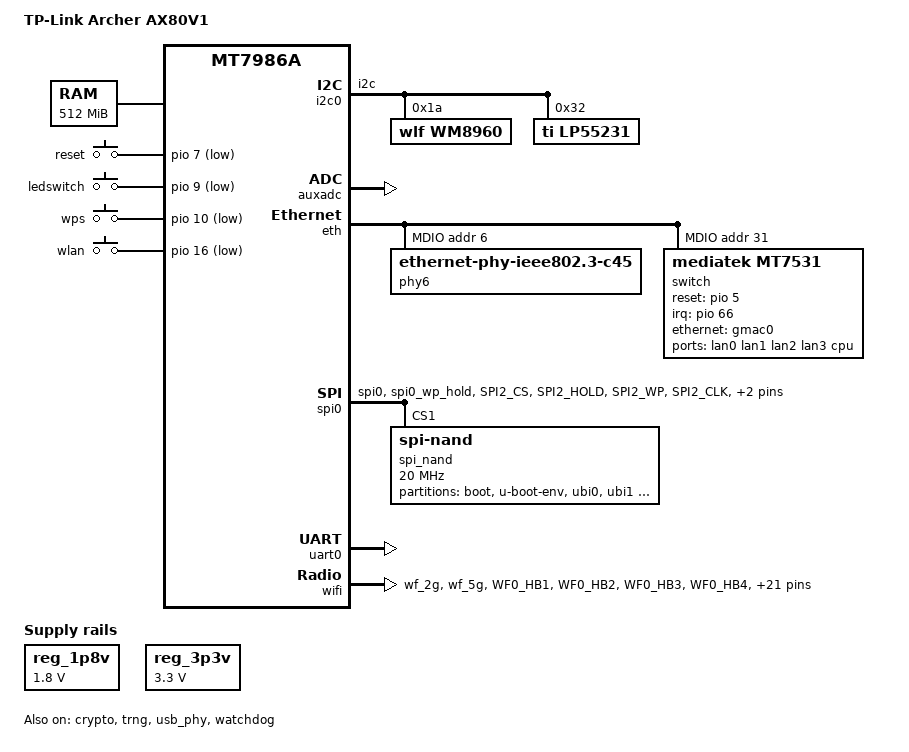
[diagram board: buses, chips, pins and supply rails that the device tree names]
// SPDX-License-Identifier: GPL-2.0-or-later OR MIT

/dts-v1/;
#include <dt-bindings/gpio/gpio.h>
#include <dt-bindings/input/input.h>
#include <dt-bindings/leds/common.h>
#include "mt7986a.dtsi"

/ {
	compatible = "tplink,archer-ax80-v1", "mediatek,mt7986a";
	model = "TP-Link Archer AX80V1";

	aliases {
		serial0 = &uart0;
	};

	chosen {
		stdout-path = "serial0:115200n8";
	};

	memory {
		reg = <0 0x40000000 0 0x20000000>;
	};
	keys {
		compatible = "gpio-keys-polled";
		poll-interval = <100>;

		reset {
			label = "reset";
			linux,code = <KEY_RESTART>;
			gpios = <&pio 7 GPIO_ACTIVE_LOW>;
			linux,input-type = <1>;
		};
		ledswitch {
			label = "ledswitch";
			linux,code = <KEY_BRIGHTNESS_ZERO>;
			gpios = <&pio 9 GPIO_ACTIVE_LOW>;
			linux,input-type = <1>;
		};
		wps {
			label = "wps";
			linux,code = <KEY_WPS_BUTTON>;
			gpios = <&pio 10 GPIO_ACTIVE_LOW>;
			linux,input-type = <1>;
		};
		wifi {
			label = "wlan";
			linux,code = <KEY_WLAN>;
			gpios = <&pio 16 GPIO_ACTIVE_LOW>;
			linux,input-type = <1>;
		};
	};

	reg_1p8v: regulator-1p8v {
		compatible = "regulator-fixed";
		regulator-name = "fixed-1.8V";
		regulator-min-microvolt = <1800000>;
		regulator-max-microvolt = <1800000>;
		regulator-boot-on;
		regulator-always-on;
	};

	reg_3p3v: regulator-3p3v {
		compatible = "regulator-fixed";
		regulator-name = "fixed-3.3V";
		regulator-min-microvolt = <3300000>;
		regulator-max-microvolt = <3300000>;
		regulator-boot-on;
		regulator-always-on;
	};

	sound {
		compatible = "mediatek,mt7986-wm8960-machine";
		audio-routing = "Headphone", "HP_L",
				"Headphone", "HP_R",
				"LINPUT1", "AMIC",
				"RINPUT1", "AMIC";
		mediatek,audio-codec = <&wm8960>;
		status = "okay";
	};
};
&crypto {
	status = "okay";
};
&i2c0 {
        pinctrl-names = "default";
        pinctrl-0 = <&i2c_pins>;
        status = "okay";

	wm8960: wm8960@1a {
		compatible = "wlf,wm8960";
		reg = <0x1a>;
	};
};

&auxadc {
        status = "okay";
};

&eth {
	status = "okay";
	gmac0: mac@0 {
		compatible = "mediatek,eth-mac";
		reg = <0>;
		phy-mode = "2500base-x";
		fixed-link {
			speed = <2500>;
			full-duplex;
			pause;
		};
	};
	gmac1: mac@1 {
		compatible = "mediatek,eth-mac";
		reg = <1>;
		phy-handle = <&phy6>;
		phy-mode = "2500base-x";
	};
	mdio: mdio-bus {
		#address-cells = <1>;
		#size-cells = <0>;
	};
};

&mdio {
	    #address-cells = <1>;
	    #size-cells = <0>;
	    reset-gpios = <&pio 6 GPIO_ACTIVE_LOW>;
	    reset-delay-us = <1500000>;
	    reset-post-delay-us = <1000000>;
	phy6: phy@6 {
			compatible = "ethernet-phy-ieee802.3-c45";
			reg = <6>;
			
		};

    switch: switch@1f {
			compatible = "mediatek,mt7531";
			reg = <31>;
			reset-gpios = <&pio 5 GPIO_ACTIVE_HIGH>;
			interrupt-controller;
			#interrupt-cells = <1>;
			interrupt-parent = <&pio>;
			interrupts = <66 IRQ_TYPE_LEVEL_HIGH>;
	};
};
&spi0 {
	pinctrl-names = "default";
	pinctrl-0 = <&spi_flash_pins>;
	cs-gpios = <0>, <0>;		
	status = "okay";
	spi_nand: spi_nand@1 {
		#address-cells = <1>;
		#size-cells = <1>;
		compatible = "spi-nand";
		reg = <1>;
		spi-max-frequency = <20000000>;
		spi-tx-buswidth = <4>;
		spi-rx-buswidth = <4>;

		partition@0 {
			label = "boot";
			reg = <0x00000 0x0200000>;
			read-only;
		};

		partition@200000 {
			label = "u-boot-env";
			reg = <0x0200000 0x0100000>;
			read-only;
		};

		partition@300000 {
			label = "ubi0";
			reg = <0x300000 0x3200000>;
		};

		partition@3500000 {
			label = "ubi1";
			reg = <0x3500000 0x3200000>;
			read-only;
		};

		partition@6700000 {
			label = "userconfig";
			reg = <0x6700000 0x800000>;
			read-only;
		};

		factory:partition@6f00000 {
			label = "tp_data";
			reg = <0x6f00000 0x400000>;
			read-only;
		};

		partition@7300000 {
			label = "mali_data";
			reg = <0x7300000 0x800000>;
			read-only;
		};
	};
};

&switch {
	ports {
		#address-cells = <1>;
		#size-cells = <0>;

		port@0 {
			reg = <0>;
			label = "lan0";
		};

		port@1 {
			reg = <1>;
			label = "lan1";
		};

		port@2 {
			reg = <2>;
			label = "lan2";
		};

		port@3 {
			reg = <3>;
			label = "lan3";
		};

		port@6 {
			reg = <6>;
			label = "cpu";
			ethernet = <&gmac0>;
			phy-mode = "2500base-x";

			fixed-link {
				speed = <2500>;
				full-duplex;
				pause;
			};
		};
	};
};

&pio {
	i2c_pins: i2c-pins-3-4 {
		mux {
			function = "i2c";
			groups = "i2c";
		};
	};
	spi_flash_pins: spi-flash-pins-33-to-38 {
		mux {
			function = "spi";
			groups = "spi0", "spi0_wp_hold";
		};
		conf-pu {
			pins = "SPI2_CS", "SPI2_HOLD", "SPI2_WP";
			drive-strength = <8>;
			mediatek,pull-up-adv = <0>; /* bias-disable */
		};
		conf-pd {
			pins = "SPI2_CLK", "SPI2_MOSI", "SPI2_MISO";
			drive-strength = <8>;
			mediatek,pull-down-adv = <0>; /* bias-disable */
		};
	};
    	wf_2g_5g_pins: wf_2g_5g-pins {
		mux {
			function = "wifi";
			groups = "wf_2g", "wf_5g";
		};
		conf {
			pins = "WF0_HB1", "WF0_HB2", "WF0_HB3", "WF0_HB4",
			       "WF0_HB0", "WF0_HB0_B", "WF0_HB5", "WF0_HB6",
			       "WF0_HB7", "WF0_HB8", "WF0_HB9", "WF0_HB10",
			       "WF0_TOP_CLK", "WF0_TOP_DATA", "WF1_HB1",
			       "WF1_HB2", "WF1_HB3", "WF1_HB4", "WF1_HB0",
			       "WF1_HB5", "WF1_HB6", "WF1_HB7", "WF1_HB8",
			       "WF1_TOP_CLK", "WF1_TOP_DATA";
			drive-strength = <4>;
		};
	};
		wf_dbdc_pins: wf-dbdc-pins {
		mux {
			function = "wifi";
			groups = "wf_dbdc";
		};
		conf {
			pins = "WF0_HB1", "WF0_HB2", "WF0_HB3", "WF0_HB4",
			       "WF0_HB0", "WF0_HB0_B", "WF0_HB5", "WF0_HB6",
			       "WF0_HB7", "WF0_HB8", "WF0_HB9", "WF0_HB10",
			       "WF0_TOP_CLK", "WF0_TOP_DATA", "WF1_HB1",
			       "WF1_HB2", "WF1_HB3", "WF1_HB4", "WF1_HB0",
			       "WF1_HB5", "WF1_HB6", "WF1_HB7", "WF1_HB8",
			       "WF1_TOP_CLK", "WF1_TOP_DATA";
			drive-strength = <4>;
		};
	};
};

&trng {
	status = "okay";
};

&uart0 {
	status = "okay";
};

&usb_phy {
	status = "okay";
};

&watchdog {
	status = "okay";
};

&wifi {
	status = "okay";
	pinctrl-names = "default", "dbdc";
	pinctrl-0 = <&wf_2g_5g_pins>;
	pinctrl-1 = <&wf_dbdc_pins>;
};
&i2c0 {
	status = "okay";

	lp55231: led-controller@32 {
      compatible = "ti,lp55231";
      reg = <0x32>;
      status = "okay";
      clock-mode = /bits/ 8 <1>;

     
      		led_blue0: led@0 {
			chan-name = "blue-0";
			led-cur = /bits/ 8 <0x14>;
			max-cur = /bits/ 8 <0x20>;
			reg = <0>;
			color = <LED_COLOR_ID_BLUE>;
			function-enumerator = <0>;
		};

		led@1 {
			chan-name = "blue-1";
			led-cur = /bits/ 8 <0x14>;
			max-cur = /bits/ 8 <0x20>;
			reg = <1>;
			color = <LED_COLOR_ID_BLUE>;
			function-enumerator = <1>;
		};

		led@2 {
			chan-name = "blue-2";
			led-cur = /bits/ 8 <0x14>;
			max-cur = /bits/ 8 <0x20>;
			reg = <2>;
			color = <LED_COLOR_ID_BLUE>;
			function-enumerator = <2>;
		};

		led_green0: led@3 {
			chan-name = "green-0";
			led-cur = /bits/ 8 <0x14>;
			max-cur = /bits/ 8 <0x20>;
			reg = <3>;
			color = <LED_COLOR_ID_GREEN>;
			function-enumerator = <0>;
		};

		led@4 {
			chan-name = "green-1";
			led-cur = /bits/ 8 <0x14>;
			max-cur = /bits/ 8 <0x20>;
			reg = <4>;
			color = <LED_COLOR_ID_GREEN>;
			function-enumerator = <1>;
		};

		led@5 {
			chan-name = "green-2";
			led-cur = /bits/ 8 <0x14>;
			max-cur = /bits/ 8 <0x20>;
			reg = <5>;
			color = <LED_COLOR_ID_GREEN>;
			function-enumerator = <2>;
		};

		led_red0: led@6 {
			chan-name = "red-0";
			led-cur = /bits/ 8 <0x14>;
			max-cur = /bits/ 8 <0x20>;
			reg = <6>;
			color = <LED_COLOR_ID_RED>;
			function-enumerator = <0>;
		};

		led@7 {
			chan-name = "red-1";
			led-cur = /bits/ 8 <0x14>;
			max-cur = /bits/ 8 <0x20>;
			reg = <7>;
			color = <LED_COLOR_ID_RED>;
			function-enumerator = <1>;
		};

		led@8 {
			chan-name = "red-2";
			led-cur = /bits/ 8 <0x14>;
			max-cur = /bits/ 8 <0x20>;
			reg = <8>;
			color = <LED_COLOR_ID_RED>;
			function-enumerator = <2>;
		};
	};
};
